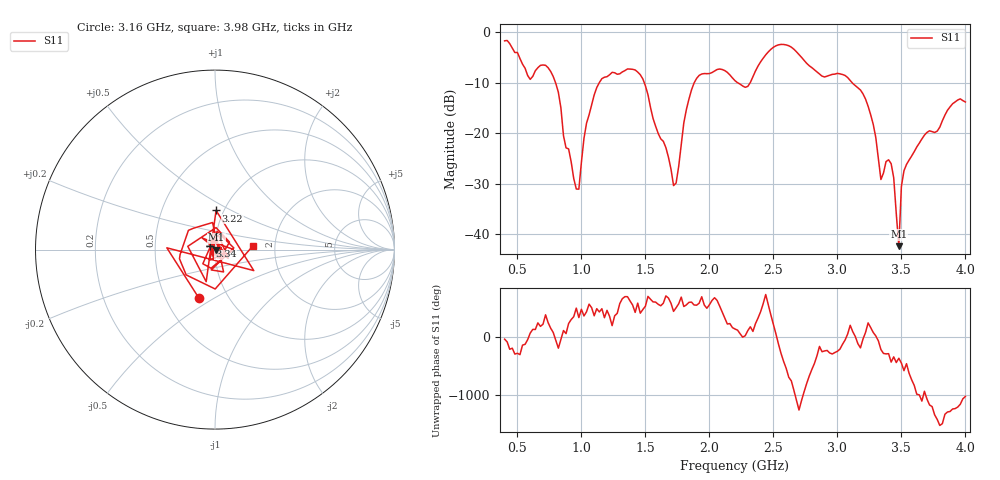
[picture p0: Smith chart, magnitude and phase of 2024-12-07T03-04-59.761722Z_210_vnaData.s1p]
!Created with skrf (http://scikit-rf.org).
# Hz S RI R 50.0
!freq ReS11 ImS11
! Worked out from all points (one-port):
!   181 points, 400 MHz to 4 GHz, reference 50 ohm
!   lowest |S11| = -42.3 dB at 3.48 GHz (marker M1), VSWR 1.02, Z = 50.8 - j0.055 ohm
!   |S11| at or under -10 dB: 798.3 MHz to 1.139 GHz (341 MHz wide, 35.2 % of centre); 1.491 GHz to 1.881 GHz (389.8 MHz wide, 23.1 % of centre); 3.116 GHz to end of sweep (the widest 3 of 4)
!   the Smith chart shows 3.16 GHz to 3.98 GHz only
!   S11 on the Smith chart (normalised r, x): 3.16 GHz: 0.73, -0.43; 3.22 GHz: 0.92, +0.42; 3.34 GHz: 0.94, +0.03; 3.98 GHz: 1.53, +0.06
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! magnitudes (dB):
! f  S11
! 400 MHz  -1.7
! 600 MHz  -9.3
! 760 MHz  -7.8
! 820 MHz  -11.9
! 860 MHz  -20.5
! 980 MHz  -31.0
! 1.04 GHz  -18.0
! 1.12 GHz  -10.9
! 1.3 GHz  -8.2
! 1.46 GHz  -8.4
! 1.72 GHz  -30.3
! 1.76 GHz  -26.5
! 1.82 GHz  -15.3
! 1.9 GHz  -9.1
! 2.2 GHz  -9.6
! 2.66 GHz  -3.4
! 3.1 GHz  -9.5
! 3.16 GHz  -11.0
! 3.22 GHz  -13.2
! 3.3 GHz  -20.8
! 3.34 GHz  -29.1
! 3.42 GHz  -26.0
! 3.44 GHz  -28.8
! 3.48 GHz  -42.3
! 3.5 GHz  -30.5
! 3.56 GHz  -25.3
! 3.98 GHz  -13.5
! 4 GHz  -13.8
